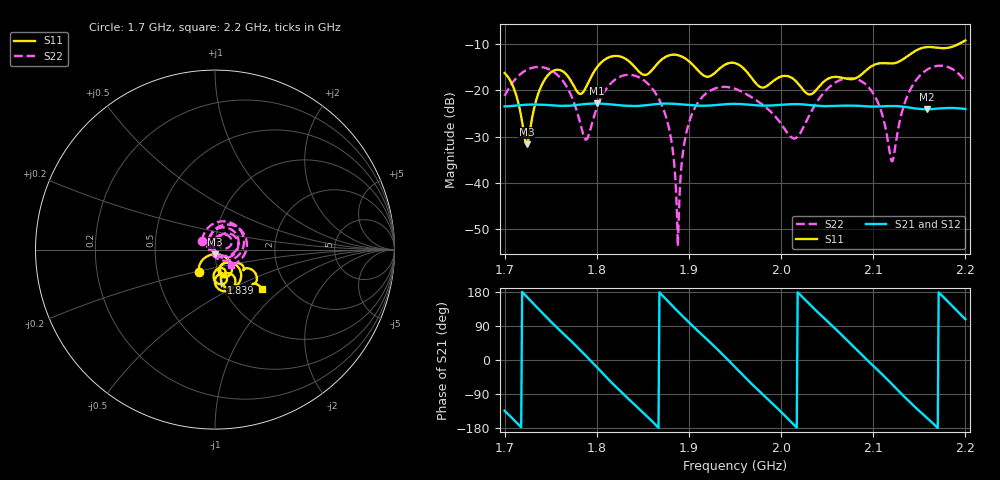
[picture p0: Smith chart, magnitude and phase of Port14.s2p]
# Hz S RI R 50
! CMT, CMT808U, 21440046, 21.4.3/4
! Date: 12/13/2025 10:56:22 PM
! Data: Format (Calibration Info)
! Freq	S11:Re/Im(F2)	S41:Re/Im(F2)	S14:Re/Im(F2)	S44:Re/Im(F2)
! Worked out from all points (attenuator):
!   501 points, 1.7 GHz to 2.2 GHz, reference 50 ohm
!   highest |S21| = -22.87 dB at 1.8 GHz (marker M1); lowest = -24.1 dB at 2.158 GHz (marker M2)
!   lowest |S11| = -31.7 dB at 1.724 GHz (marker M3), VSWR 1.05, Z = 50 - j2.6 ohm
!   |S11| at or under -10 dB: start of sweep to 2.193 GHz
!   |S22| runs from -53.7 to -14.7 dB; largest |S21 - S12| = 0.00037
!   S11 on the Smith chart (normalised r, x): 1.7 GHz: 0.82, -0.21; 1.839 GHz: 1.00, -0.38; 2.2 GHz: 1.49, -0.75
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1.7e9  -0.0866 -0.126  -0.0462 -0.0483  -0.046 -0.0482  -0.0706 0.0502
1.724e9  0.000601 -0.0259  -0.068 0.0156  -0.0678 0.0154  0.0509 0.1575
1.749e9  0.0934 -0.1199  -0.0169 0.0668  -0.017 0.0665  0.1616 0.0406
1.784e9  0.055 -0.0745  0.0653 0.0259  0.0652 0.026  -0.00777 -0.0363
1.8e9  0.137 -0.1094  0.0679 -0.0234  0.0678 -0.0232  -0.0369 0.0523
1.839e9  0.0359 -0.1843  -0.0265 -0.062  -0.0263 -0.062  0.1245 0.0746
1.867e9  0.1124 -0.1638  -0.0711 -0.00128  -0.071 -0.00147  0.0748 -0.0335
1.88e9  0.0912 -0.2214  -0.0608 0.0378  -0.0608 0.0377  0.0203 -0.0252
1.888e9  0.0539 -0.2325  -0.0438 0.0557  -0.0438 0.0555  -0.00179 -0.00105
1.895e9  0.0228 -0.2219  -0.0252 0.0651  -0.0253 0.0649  -0.00863 0.0255
1.905e9  -0.000461 -0.1842  0.00283 0.0685  0.00274 0.0684  0.00138 0.0602
1.95e9  0.0288 -0.1937  0.0675 -0.023  0.0673 -0.0227  0.0936 0.0448
1.979e9  0.0218 -0.1046  0.00203 -0.0682  0.00222 -0.068  0.07 0.00943
2.013e9  0.0346 -0.1284  -0.0694 -0.0139  -0.0693 -0.0141  0.025 0.0172
2.034e9  0.0563 -0.0726  -0.0524 0.0444  -0.0524 0.0442  0.0179 0.0591
2.085e9  0.1201 -0.0754  0.0638 0.0228  0.0636 0.0229  0.1278 0.00933
2.105e9  0.1612 -0.1069  0.0594 -0.0302  0.0594 -0.0301  0.0581 -0.0458
2.117e9  0.1578 -0.1134  0.0381 -0.0556  0.0383 -0.0554  -0.00102 -0.0242
2.121e9  0.1604 -0.1099  0.028 -0.0613  0.0283 -0.0612  -0.0156 -0.00717
2.136e9  0.2004 -0.1091  -0.0141 -0.0641  -0.0139 -0.0641  -0.0236 0.0781
2.158e9  0.2283 -0.1813  -0.055 -0.0292  -0.0549 -0.0294  0.0929 0.1369
2.2e9  0.263 -0.2213  -0.0187 0.0597  -0.0189 0.0596  0.0872 -0.087
